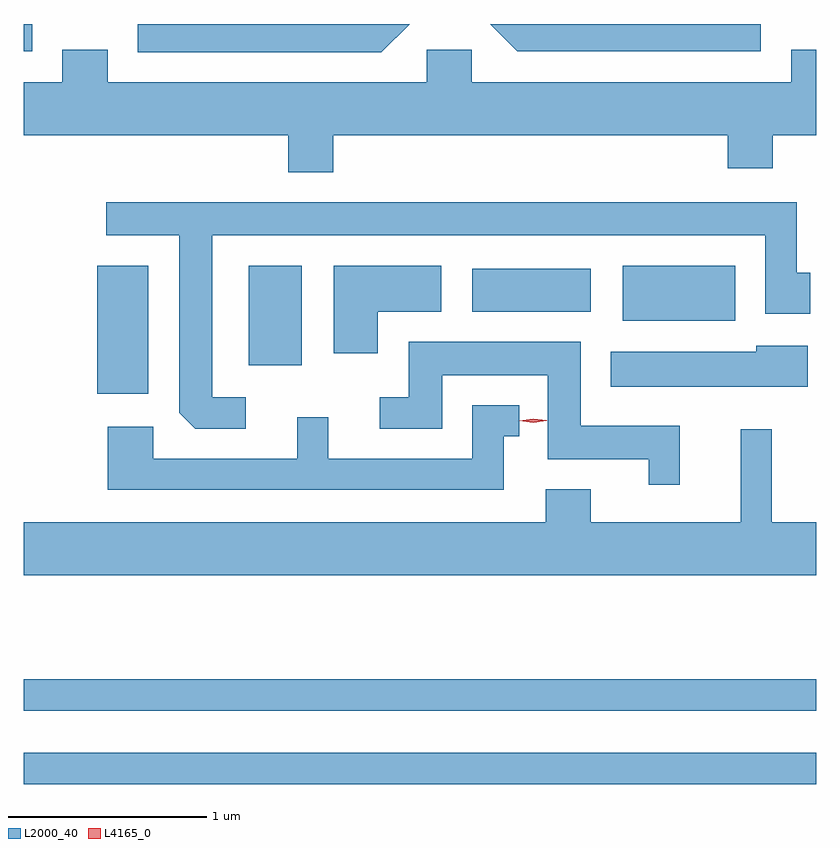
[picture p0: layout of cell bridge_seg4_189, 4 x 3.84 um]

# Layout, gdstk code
import gdstk
lib = gdstk.Library(unit=1e-6, precision=1e-09)
def R(c, l, rs):  # rectangles x0, y0, x1, y1
    for r in rs: c.add(gdstk.rectangle(r[:2], r[2:], *l))
def P(c, l, *ps):  # polygons
    for p in ps: c.add(gdstk.Polygon(p, *l))
L2000_40 = (2000, 40)
L4165_0 = (4165, 0)

bridge_seg4_189 = lib.new_cell('bridge_seg4_189')
R(bridge_seg4_189, L2000_40, [(997.077,1269.261,1001.077,1269.419), (997.077,1269.631,1001.077,1269.789), (997.446,1271.231,997.704,1271.879), (998.211,1271.376,998.479,1271.879), (1000.101,1271.601,1000.669,1271.879), (999.341,1271.646,999.939,1271.864), (997.077,1272.961,997.119,1273.099)])
P(bridge_seg4_189, L2000_40, [(1000.799,1273.099),(999.431,1273.099),(999.569,1272.961),(1000.799,1272.961)],
  [(999.025,1273.099),(997.651,1273.099),(997.651,1272.956),(998.882,1272.956)],
  [(998.639,1272.536),(1000.631,1272.536),(1000.631,1272.371),(1000.859,1272.371),(1000.859,1272.536),(1001.077,1272.536),(1001.077,1272.969),(1000.951,1272.969),(1000.951,1272.804),(999.339,1272.804),(999.339,1272.969),(999.111,1272.969),(999.111,1272.804),(997.499,1272.804),(997.499,1272.969),(997.271,1272.969),(997.271,1272.804),(997.077,1272.804),(997.077,1272.536),(998.411,1272.536),(998.411,1272.351),(998.639,1272.351)],
  [(998.198,1271.214),(998.029,1271.214),(998.029,1272.031),(1000.821,1272.031),(1000.821,1271.636),(1001.049,1271.636),(1001.049,1271.844),(1000.979,1271.844),(1000.979,1272.199),(997.493,1272.199),(997.493,1272.031),(997.861,1272.031),(997.861,1271.137),(997.942,1271.056),(998.198,1271.056)],
  [(998.864,1271.646),(999.184,1271.646),(999.184,1271.879),(998.641,1271.879),(998.641,1271.436),(998.864,1271.436)],
  [(1000.389,1271.069),(999.889,1271.069),(999.889,1271.494),(999.021,1271.494),(999.021,1271.214),(998.873,1271.214),(998.873,1271.056),(999.189,1271.056),(999.189,1271.326),(999.721,1271.326),(999.721,1270.901),(1000.231,1270.901),(1000.231,1270.773),(1000.389,1270.773)],
  [(1001.034,1271.474),(1000.776,1271.474),(1000.776,1271.444),(1000.041,1271.444),(1000.041,1271.266),(1001.034,1271.266)],
  [(999.499,1271.016),(999.578,1271.016),(999.578,1271.174),(999.341,1271.174),(999.341,1270.904),(998.614,1270.904),(998.614,1271.113),(998.456,1271.113),(998.456,1270.904),(997.729,1270.904),(997.729,1271.064),(997.501,1271.064),(997.501,1270.746),(999.499,1270.746)],
  [(1001.077,1270.584),(1000.854,1270.584),(1000.854,1271.053),(1000.696,1271.053),(1000.696,1270.584),(999.939,1270.584),(999.939,1270.749),(999.711,1270.749),(999.711,1270.584),(997.077,1270.584),(997.077,1270.316),(1001.077,1270.316)])
P(bridge_seg4_189, L4165_0, [(999.648,1271.086),(999.579,1271.095),(999.579,1271.096),(999.579,1271.096),(999.648,1271.106),(999.718,1271.097),(999.718,1271.096),(999.718,1271.096)])

lib.write_gds('bridge_seg4_189.gds')
